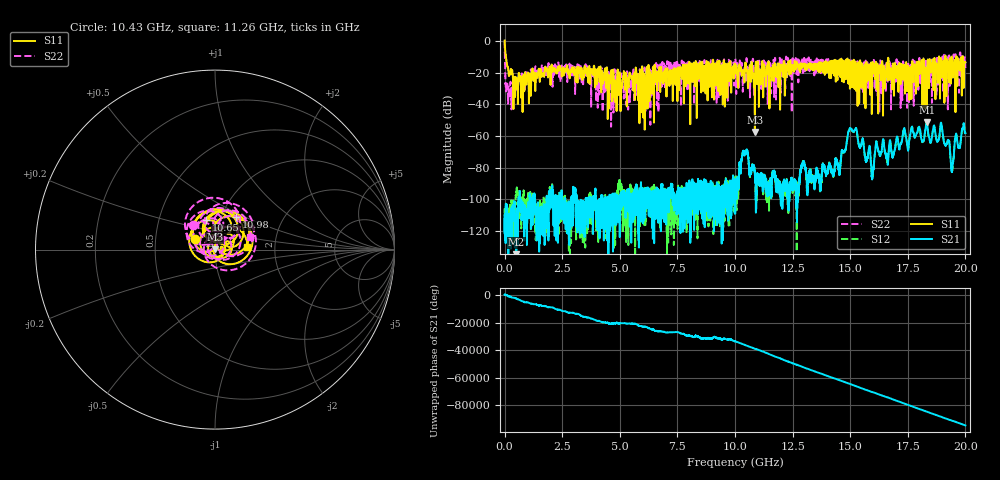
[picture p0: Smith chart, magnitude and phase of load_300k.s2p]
! MS46122B
! 2250307/22442219
! 2/13/2026 1:45:19 PM
! C:\USERS\SPARKY\DOCUMENTS\VNA_DATA\FEB13_2026\LOAD_300K.S2P
! CHANNEL.1
! TR.MEASUREMENT
! RAW.DATA
# GHZ S RI R 50.0
! FREQ.GHZ  S11RE  S11IM  S21RE  S21IM  S12RE  S12IM  S22RE  S22IM
!; PortSelection: Port_12
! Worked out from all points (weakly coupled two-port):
!   10001 points, 1 MHz to 20 GHz, reference 50 ohm
!   highest |S21| = -51.26 dB at 18.32 GHz (marker M1); lowest = -140.0 dB at 509 MHz (marker M2)
!   lowest |S11| = -57.4 dB at 10.86 GHz (marker M3), VSWR 1.00, Z = 49.9 + j0.107 ohm
!   |S11| at or under -10 dB: 60.15 MHz to 18.85 GHz (18.79 GHz wide, 199 % of centre); 19.15 GHz to 19.4 GHz (256.3 MHz wide, 1.33 % of centre); 19.62 GHz to 19.88 GHz (255.2 MHz wide, 1.29 % of centre) (the widest 3 of 6)
!   |S22| runs from -54.1 to -0.1 dB; largest |S21 - S12| = 0.00087
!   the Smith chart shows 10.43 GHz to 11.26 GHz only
!   S11 on the Smith chart (normalised r, x): 10.43 GHz: 0.79, +0.10; 10.65 GHz: 0.86, +0.29; 10.98 GHz: 1.18, +0.45; 11.26 GHz: 1.44, +0.04
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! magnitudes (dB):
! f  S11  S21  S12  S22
! 1 MHz  0.4  -110.2  -108.7  -0.1
! 135 MHz  -16.1  -114.0  -115.9  -30.5
! 509 MHz  -29.6  -140.0  -95.5  -31.5
! 3.335 GHz  -16.8  -101.9  -113.1  -21.6
! 4.631 GHz  -18.5  -104.9  -106.1  -38.3
! 6.669 GHz  -21.3  -105.5  -102.6  -23.6
! 10 GHz  -15.3  -103.6  -94.6  -11.9
! 10.43 GHz  -17.8  -70.9  -71.4  -14.6
! 10.65 GHz  -15.4  -83.3  -85.9  -34.5
! 10.86 GHz  -57.4  -83.3  -84.0  -21.8
! 10.98 GHz  -13.3  -84.6  -86.9  -13.1
! 11.26 GHz  -14.8  -87.1  -86.5  -13.7
! 13.33 GHz  -14.6  -88.1  -85.9  -12.3
! 14.51 GHz  -19.7  -81.7  -81.5  -15.9
! 15.01 GHz  -13.5  -55.6  -55.6  -13.3
! 15.97 GHz  -13.4  -83.9  -83.8  -15.7
! 16.16 GHz  -19.6  -65.1  -65.2  -18.0
! 16.67 GHz  -12.0  -71.9  -69.7  -12.9
! 18.32 GHz  -27.7  -51.3  -51.5  -18.3
! 18.97 GHz  -18.6  -53.3  -53.6  -12.7
! 19.42 GHz  -10.9  -82.3  -81.6  -15.0
! 20 GHz  -13.5  -58.1  -58.7  -17.3
